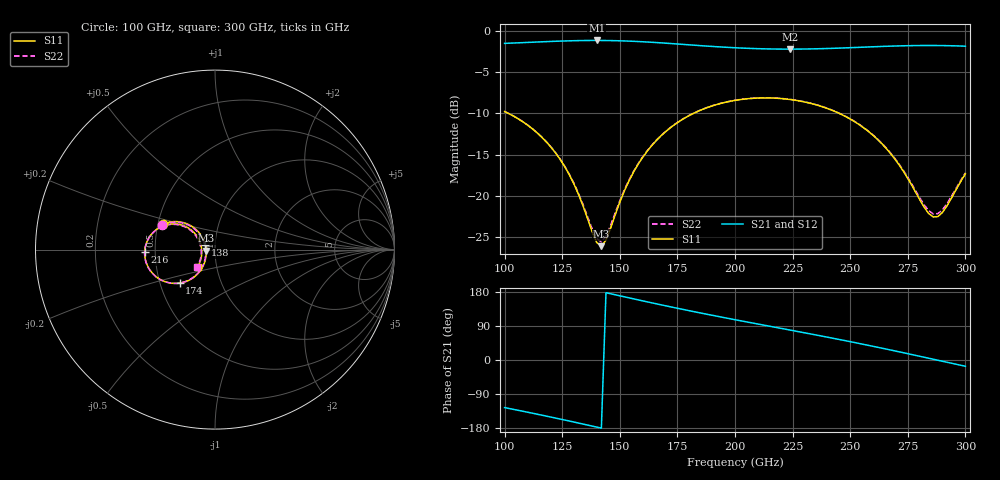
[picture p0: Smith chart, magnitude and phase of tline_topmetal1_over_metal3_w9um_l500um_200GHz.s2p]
#  GHZ S DB R 50
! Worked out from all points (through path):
!   101 points, 100 GHz to 300 GHz, reference 50 ohm
!   highest |S21| = -1.14 dB at 140 GHz (marker M1); lowest = -2.2 dB at 224 GHz (marker M2)
!   group delay of S21, straight-line fit = 3.44 ps
!   lowest |S11| = -26.1 dB at 142 GHz (marker M3), VSWR 1.10, Z = 45.3 - j0.529 ohm
!   |S11| at or under -10 dB: 101.6 GHz to 182 GHz (80.35 GHz wide, 56.7 % of centre); 245.2 GHz to end of sweep
!   |S22| runs from -25.6 to -8.1 dB; largest |S21 - S12| = 1.4e-15
!   S11 on the Smith chart (normalised r, x): 100 GHz: 0.53, +0.17; 138 GHz: 0.90, +0.05; 174 GHz: 0.63, -0.25; 216 GHz: 0.44, -0.02; 300 GHz: 0.81, -0.16
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100  -9.78 154.3  -1.49 -125.6  -1.49 -125.6  -9.77 154.8
110  -11.43 144.4  -1.37 -137.8  -1.37 -137.8  -11.42 145.1
120  -14.07 136.1  -1.26 -150.5  -1.26 -150.5  -14.04 137.1
128  -17.42 133.1  -1.18 -161.0  -1.18 -161.0  -17.35 134.5
134  -21.22 138.5  -1.15 -169.0  -1.15 -169.0  -21.05 140.5
138  -24.40 153.7  -1.14 -174.4  -1.14 -174.4  -24.05 155.7
140  -25.71 168.2  -1.14 -177.1  -1.14 -177.1  -25.24 169.7
142  -26.14 -173.2  -1.14 -179.8  -1.14 -179.8  -25.61 -172.9
144  -25.41 -155.4  -1.14 177.5  -1.14 177.5  -24.94 -156.2
156  -17.12 -124.8  -1.24 161.3  -1.24 161.3  -17.04 -125.7
168  -12.70 -131.2  -1.43 145.5  -1.43 145.5  -12.67 -131.6
174  -11.32 -136.6  -1.55 137.8  -1.55 137.8  -11.30 -136.8
186  -9.50 -148.2  -1.79 122.9  -1.79 122.9  -9.49 -148.3
200  -8.42 -162.1  -2.02 106.3  -2.02 106.3  -8.41 -162.0
216  -8.13 -177.7  -2.17 88.0  -2.17 88.0  -8.12 -177.4
224  -8.32 174.6  -2.19 78.9  -2.19 78.9  -8.30 175.0
234  -8.87 165.2  -2.16 67.4  -2.16 67.4  -8.85 165.7
252  -11.02 149.4  -1.99 45.9  -1.99 45.9  -11.00 150.2
268  -15.05 140.6  -1.82 25.8  -1.82 25.8  -14.98 141.8
286  -22.59 178.4  -1.75 2.1  -1.75 2.1  -22.22 179.0
290  -22.06 -159.9  -1.76 -3.2  -1.76 -3.2  -21.74 -160.4
300  -17.34 -135.3  -1.83 -16.5  -1.83 -16.5  -17.23 -136.1
